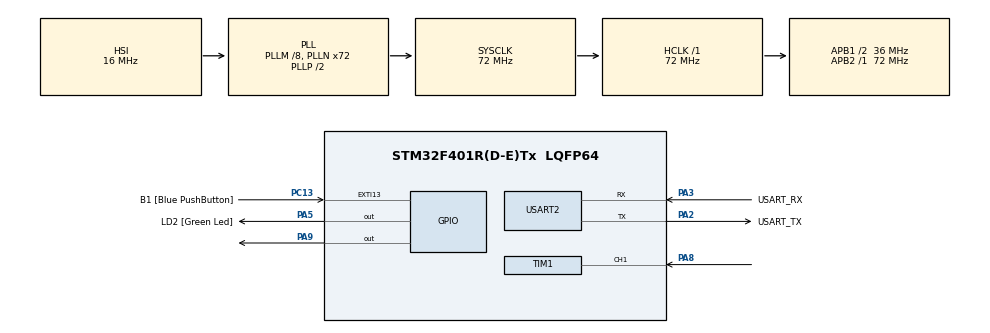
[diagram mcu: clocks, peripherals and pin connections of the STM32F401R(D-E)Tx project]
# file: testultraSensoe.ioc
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Mcu.Family=STM32F4
Mcu.Name=STM32F401R(D-E)Tx
Mcu.Package=LQFP64
NVIC.PriorityGroup=NVIC_PRIORITYGROUP_0
NVIC.TIM1_CC_IRQn=true\:0\:0\:false\:false\:true\:true\:true
PA13.GPIO_Label=TMS
PA13.Mode=Serial_Wire
PA13.Signal=SYS_JTMS-SWDIO
PA14.GPIO_Label=TCK
PA14.Mode=Serial_Wire
PA14.Signal=SYS_JTCK-SWCLK
PA2.GPIO_Label=USART_TX
PA2.GPIO_Mode=GPIO_MODE_AF_PP
PA2.GPIO_PuPd=GPIO_NOPULL
PA2.GPIO_Speed=GPIO_SPEED_FREQ_LOW
PA2.Mode=Asynchronous
PA2.Signal=USART2_TX
PA3.GPIO_Label=USART_RX
PA3.GPIO_Mode=GPIO_MODE_AF_PP
PA3.GPIO_PuPd=GPIO_NOPULL
PA3.GPIO_Speed=GPIO_SPEED_FREQ_LOW
PA3.Mode=Asynchronous
PA3.Signal=USART2_RX
PA5.GPIO_Label=LD2 [Green Led]
PA5.GPIO_Mode=GPIO_MODE_OUTPUT_PP
PA5.GPIO_PuPd=GPIO_NOPULL
PA5.GPIO_Speed=GPIO_SPEED_FREQ_LOW
PA5.Signal=GPIO_Output
PA8.Signal=S_TIM1_CH1
PA9.Signal=GPIO_Output
PB3.GPIO_Label=SWO
PB3.Signal=SYS_JTDO-SWO
PC13-ANTI_TAMP.GPIO_Label=B1 [Blue PushButton]
PC13-ANTI_TAMP.GPIO_ModeDefaultEXTI=GPIO_MODE_IT_FALLING
PC13-ANTI_TAMP.GPIO_PuPd=GPIO_NOPULL
PC13-ANTI_TAMP.Signal=GPXTI13
PC14-OSC32_IN.Signal=RCC_OSC32_IN
PC15-OSC32_OUT.Signal=RCC_OSC32_OUT
PH0\ -\ OSC_IN.Mode=HSE-External-Oscillator
PH0\ -\ OSC_IN.Signal=RCC_OSC_IN
PH1\ -\ OSC_OUT.Mode=HSE-External-Oscillator
PH1\ -\ OSC_OUT.Signal=RCC_OSC_OUT
ProjectManager.HeapSize=0x200
ProjectManager.StackSize=0x400
ProjectManager.TargetToolchain=STM32CubeIDE
RCC.48MHZClocksFreq_Value=20571428.57142857
RCC.AHBFreq_Value=72000000
RCC.APB1CLKDivider=RCC_HCLK_DIV2
RCC.APB1Freq_Value=36000000
RCC.APB1TimFreq_Value=72000000
RCC.APB2Freq_Value=72000000
RCC.APB2TimFreq_Value=72000000
RCC.CortexFreq_Value=72000000
RCC.HCLKFreq_Value=72000000
RCC.HSE_VALUE=8000000
RCC.HSI_VALUE=16000000
RCC.LSE_VALUE=32768
RCC.PLLM=8
RCC.PLLN=72
RCC.PLLQ=7
RCC.SYSCLKFreq_VALUE=72000000
RCC.SYSCLKSource=RCC_SYSCLKSOURCE_PLLCLK
RCC.VCOOutputFreq_Value=144000000
SH.S_TIM1_CH1.0=TIM1_CH1,Input_Capture1_from_TI1
TIM1.Channel-Input_Capture1_from_TI1=TIM_CHANNEL_1
TIM1.Period=0xffff-1
TIM1.Prescaler=72-1
USART2.VirtualMode=VM_ASYNC
VP_TIM1_VS_ClockSourceINT.Mode=Internal
board=NUCLEO-F401RE

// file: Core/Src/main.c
/* USER CODE BEGIN Header */
/**
  ******************************************************************************
  * @file           : main.c
  * @brief          : Main program body
  ******************************************************************************
  * @attention
  *
  * <h2><center>&copy; Copyright (c) 2022 STMicroelectronics.
  * All rights reserved.</center></h2>
  *
  * This software component is licensed by ST under BSD 3-Clause license,
  * the "License"; You may not use this file except in compliance with the
  * License. You may obtain a copy of the License at:
  *                        opensource.org/licenses/BSD-3-Clause
  *
  ******************************************************************************
  */
/* USER CODE END Header */
#include "main.h"

TIM_HandleTypeDef htim1;

UART_HandleTypeDef huart2;

void SystemClock_Config(void);
static void MX_GPIO_Init(void);
static void MX_USART2_UART_Init(void);
static void MX_TIM1_Init(void);

/* USER CODE BEGIN 0 */
uint16_t sysTicks = 0;
float distance = 0.0;
char mSG[25] = {0};

// Let's write the callback function

/* USER CODE END 0 */

int main(void)
{

  /* MCU Configuration--------------------------------------------------------*/

  /* Reset of all peripherals, Initializes the Flash interface and the Systick. */
  HAL_Init();

  /* Configure the system clock */
  SystemClock_Config();

  /* Initialize all configured peripherals */
  MX_GPIO_Init();
  MX_USART2_UART_Init();
  MX_TIM1_Init();
  /* USER CODE BEGIN 2 */
  HAL_TIM_IC_Start_IT(&htim1, TIM_CHANNEL_1);
  HAL_Init();
  HCSR04_Init(0, &htim1);

  /* USER CODE END 2 */

  /* Infinite loop */
  while (1)
  {

    /* USER CODE BEGIN 3 */

	distance = HCSR04_Read(0);
	sprintf(mSG,"%f\r\n",distance);
	HAL_UART_Transmit(&huart2, mSG, sizeof(mSG), 100);
  }
  /* USER CODE END 3 */
}

void SystemClock_Config(void)
{
  RCC_OscInitTypeDef RCC_OscInitStruct = {0};
  RCC_ClkInitTypeDef RCC_ClkInitStruct = {0};

  /** Configure the main internal regulator output voltage
  */
  __HAL_RCC_PWR_CLK_ENABLE();
  __HAL_PWR_VOLTAGESCALING_CONFIG(PWR_REGULATOR_VOLTAGE_SCALE2);
  /** Initializes the RCC Oscillators according to the specified parameters
  * in the RCC_OscInitTypeDef structure.
  */
  RCC_OscInitStruct.OscillatorType = RCC_OSCILLATORTYPE_HSI;
  RCC_OscInitStruct.HSIState = RCC_HSI_ON;
  RCC_OscInitStruct.HSICalibrationValue = RCC_HSICALIBRATION_DEFAULT;
  RCC_OscInitStruct.PLL.PLLState = RCC_PLL_ON;
  RCC_OscInitStruct.PLL.PLLSource = RCC_PLLSOURCE_HSI;
  RCC_OscInitStruct.PLL.PLLM = 8;
  RCC_OscInitStruct.PLL.PLLN = 72;
  RCC_OscInitStruct.PLL.PLLP = RCC_PLLP_DIV2;
  RCC_OscInitStruct.PLL.PLLQ = 7;
  if (HAL_RCC_OscConfig(&RCC_OscInitStruct) != HAL_OK)
  {
    Error_Handler();
  }
  /** Initializes the CPU, AHB and APB buses clocks
  */
  RCC_ClkInitStruct.ClockType = RCC_CLOCKTYPE_HCLK|RCC_CLOCKTYPE_SYSCLK
                              |RCC_CLOCKTYPE_PCLK1|RCC_CLOCKTYPE_PCLK2;
  RCC_ClkInitStruct.SYSCLKSource = RCC_SYSCLKSOURCE_PLLCLK;
  RCC_ClkInitStruct.AHBCLKDivider = RCC_SYSCLK_DIV1;
  RCC_ClkInitStruct.APB1CLKDivider = RCC_HCLK_DIV2;
  RCC_ClkInitStruct.APB2CLKDivider = RCC_HCLK_DIV1;

  if (HAL_RCC_ClockConfig(&RCC_ClkInitStruct, FLASH_LATENCY_2) != HAL_OK)
  {
    Error_Handler();
  }
}

static void MX_TIM1_Init(void)
{

  TIM_ClockConfigTypeDef sClockSourceConfig = {0};
  TIM_MasterConfigTypeDef sMasterConfig = {0};
  TIM_IC_InitTypeDef sConfigIC = {0};

  htim1.Instance = TIM1;
  htim1.Init.Prescaler = 72-1;
  htim1.Init.CounterMode = TIM_COUNTERMODE_UP;
  htim1.Init.Period = 0xffff-1;
  htim1.Init.ClockDivision = TIM_CLOCKDIVISION_DIV1;
  htim1.Init.RepetitionCounter = 0;
  htim1.Init.AutoReloadPreload = TIM_AUTORELOAD_PRELOAD_DISABLE;
  if (HAL_TIM_Base_Init(&htim1) != HAL_OK)
  {
    Error_Handler();
  }
  sClockSourceConfig.ClockSource = TIM_CLOCKSOURCE_INTERNAL;
  if (HAL_TIM_ConfigClockSource(&htim1, &sClockSourceConfig) != HAL_OK)
  {
    Error_Handler();
  }
  if (HAL_TIM_IC_Init(&htim1) != HAL_OK)
  {
    Error_Handler();
  }
  sMasterConfig.MasterOutputTrigger = TIM_TRGO_RESET;
  sMasterConfig.MasterSlaveMode = TIM_MASTERSLAVEMODE_DISABLE;
  if (HAL_TIMEx_MasterConfigSynchronization(&htim1, &sMasterConfig) != HAL_OK)
  {
    Error_Handler();
  }
  sConfigIC.ICPolarity = TIM_INPUTCHANNELPOLARITY_RISING;
  sConfigIC.ICSelection = TIM_ICSELECTION_DIRECTTI;
  sConfigIC.ICPrescaler = TIM_ICPSC_DIV1;
  sConfigIC.ICFilter = 0;
  if (HAL_TIM_IC_ConfigChannel(&htim1, &sConfigIC, TIM_CHANNEL_1) != HAL_OK)
  {
    Error_Handler();
  }

}

static void MX_USART2_UART_Init(void)
{

  huart2.Instance = USART2;
  huart2.Init.BaudRate = 115200;
  huart2.Init.WordLength = UART_WORDLENGTH_8B;
  huart2.Init.StopBits = UART_STOPBITS_1;
  huart2.Init.Parity = UART_PARITY_NONE;
  huart2.Init.Mode = UART_MODE_TX_RX;
  huart2.Init.HwFlowCtl = UART_HWCONTROL_NONE;
  huart2.Init.OverSampling = UART_OVERSAMPLING_16;
  if (HAL_UART_Init(&huart2) != HAL_OK)
  {
    Error_Handler();
  }

}

static void MX_GPIO_Init(void)
{
  GPIO_InitTypeDef GPIO_InitStruct = {0};

  /* GPIO Ports Clock Enable */
  __HAL_RCC_GPIOC_CLK_ENABLE();
  __HAL_RCC_GPIOH_CLK_ENABLE();
  __HAL_RCC_GPIOA_CLK_ENABLE();
  __HAL_RCC_GPIOB_CLK_ENABLE();

  /*Configure GPIO pin Output Level */
  HAL_GPIO_WritePin(GPIOA, LD2_Pin|GPIO_PIN_9, GPIO_PIN_RESET);

  /*Configure GPIO pin : B1_Pin */
  GPIO_InitStruct.Pin = B1_Pin;
  GPIO_InitStruct.Mode = GPIO_MODE_IT_FALLING;
  GPIO_InitStruct.Pull = GPIO_NOPULL;
  HAL_GPIO_Init(B1_GPIO_Port, &GPIO_InitStruct);

  /*Configure GPIO pins : LD2_Pin PA9 */
  GPIO_InitStruct.Pin = LD2_Pin|GPIO_PIN_9;
  GPIO_InitStruct.Mode = GPIO_MODE_OUTPUT_PP;
  GPIO_InitStruct.Pull = GPIO_NOPULL;
  GPIO_InitStruct.Speed = GPIO_SPEED_FREQ_LOW;
  HAL_GPIO_Init(GPIOA, &GPIO_InitStruct);

}

/* USER CODE BEGIN 4 */
void HAL_TIM_IC_CaptureCallback(TIM_HandleTypeDef *htim)
{
	HCSR04_TMR_IC_ISR(htim);
}
void HAL_TIM_PeriodElapsedCallback(TIM_HandleTypeDef* htim)
{
    HCSR04_TMR_OVF_ISR(htim);
}
void SysTick_CallBack(void)
{
    sysTicks++;
    if(sysTicks == 15) // Each 15msec
    {
        HCSR04_Trigger(0);
    sysTicks = 0;
    }
}
/* USER CODE END 4 */

void Error_Handler(void)
{
  __disable_irq();
  while (1)
  {
  }
}

/************************ (C) COPYRIGHT STMicroelectronics *****END OF FILE****/
